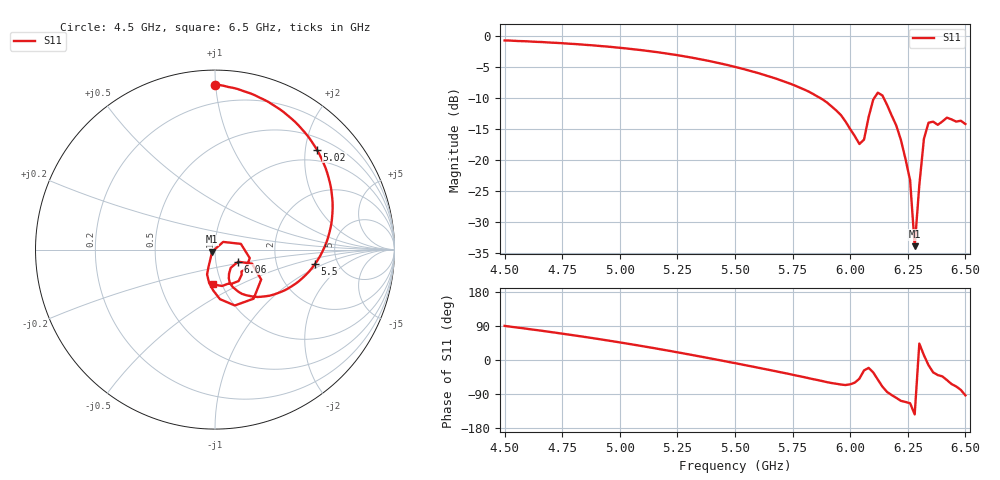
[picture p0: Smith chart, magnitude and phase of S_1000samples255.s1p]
! TOUCHSTONE file generated by CST MICROWAVE STUDIO
! Date and time: Thu Oct 27 13:09:29 2022
! Project name: L.cst
! Parameters = {Di=1.27; Epsilon_r=1.56; InnerDiameter=1.27; Length=2; Lf=10; Lg=60; OuterConductorThickness=0.2921; OuterDiameter=3.6; Wf=3; Wp=41.2; de=1.5; df=6.8; g=0.8; gx=2.52183; gy=4.02642; h=2.34; hf=1.524; px=12.7963; py=14.7366; w=9.7; wx=10.2745; wy=10.7102}
! Header version: 2018
! Port assignment regex: !\s*Touchstone port\s*([0-9]+)\s*=\s*(CST MWS port|CST DS port)\s*([0-9]+|Zmin|Zmax)\s*\(\"(.*)\"\)(\s*mode\s*([0-9]+))?.*
! Touchstone port assignment:
! Touchstone port 1 = CST MWS port 1 ("")
# GHz S DB R 50
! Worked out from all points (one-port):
!   101 points, 4.5 GHz to 6.5 GHz, reference 50 ohm
!   lowest |S11| = -33.9 dB at 6.28 GHz (marker M1), VSWR 1.04, Z = 48.4 - j1.16 ohm
!   |S11| at or under -10 dB: 5.868 GHz to 6.105 GHz (236.6 MHz wide, 3.95 % of centre); 6.145 GHz to end of sweep
!   S11 on the Smith chart (normalised r, x): 4.5 GHz: 0.08, +1.00; 5.02 GHz: 0.74, +2.24; 5.5 GHz: 3.36, -0.80; 6.06 GHz: 1.28, -0.18; 6.5 GHz: 0.91, -0.37
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4.5  -0.73 90.0
4.76  -1.21 68.7
5  -1.92 46.5
5.02  -1.99 44.5
5.26  -3.17 19.2
5.5  -5.00 -8.3
5.62  -6.22 -22.7
5.76  -8.01 -40.2
5.9  -10.77 -58.6
5.96  -12.79 -64.8
6  -15.04 -64.2
6.04  -17.45 -49.2
6.06  -16.74 -27.6
6.08  -13.11 -20.8
6.1  -10.27 -32.9
6.12  -9.17 -51.8
6.14  -9.62 -70.5
6.16  -11.13 -84.3
6.2  -14.47 -99.9
6.22  -16.78 -107.8
6.26  -23.30 -114.1
6.28  -33.94 -143.5
6.3  -24.10 43.3
6.32  -16.62 12.5
6.34  -14.01 -13.7
6.38  -14.36 -39.8
6.42  -13.19 -53.0
6.5  -14.22 -93.3
